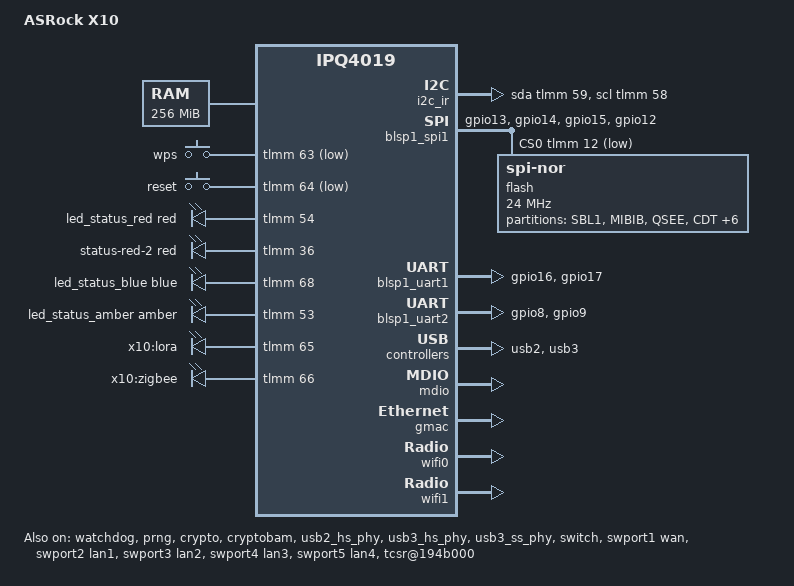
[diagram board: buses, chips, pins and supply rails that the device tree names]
// SPDX-License-Identifier: GPL-2.0-or-later OR MIT
/*
 * ASRock X10 IoT router (IPQ4019, 256 MiB RAM, 32 MiB SPI-NOR)
 *
 * Derived from the stock 1.70 firmware, which boots an unmodified QCA
 * AP-DK04.1 device tree and drives all board-specific peripherals from
 * userspace via sysfs GPIO. Pin assignments below come from those stock
 * scripts; Zigbee, IR, Ethernet, Wi-Fi calibration and MACs are verified
 * on hardware, LED colors are not.
 *
 * Peripherals:
 *  - TI CC2630 Zigbee NCP (Z-Stack ZNP) on blsp1_uart2 (ttyMSM1), 115200 8N1,
 *    no flow control. Reset is active-low on gpio18 (gpio32 on SR2 boards),
 *    ROM serial-bootloader backdoor (CC2630 DIO6, active-high) on gpio49.
 *  - Sonix SN8 IR blaster MCU and LoRa module on a bit-banged I2C bus;
 *    IR MCU reset on gpio46.
 */

#include "qcom-ipq4019.dtsi"
#include <dt-bindings/gpio/gpio.h>
#include <dt-bindings/input/input.h>
#include <dt-bindings/leds/common.h>
#include <dt-bindings/soc/qcom,tcsr.h>

/ {
	model = "ASRock X10";
	compatible = "asrock,x10";

	aliases {
		serial0 = &blsp1_uart1;
		serial1 = &blsp1_uart2;
		led-boot = &led_status_blue;
		led-failsafe = &led_status_red;
		led-running = &led_status_blue;
		led-upgrade = &led_status_amber;
		label-mac-device = &gmac;
	};

	chosen {
		stdout-path = "serial0:115200n8";
	};

	memory {
		device_type = "memory";
		reg = <0x80000000 0x10000000>;
	};

	soc {
		tcsr@1949000 {
			compatible = "qcom,tcsr";
			reg = <0x1949000 0x100>;
			qcom,wifi_glb_cfg = <TCSR_WIFI_GLB_CFG>;
		};

		tcsr@194b000 {
			/* select hostmode */
			compatible = "qcom,tcsr";
			reg = <0x194b000 0x100>;
			qcom,usb-hsphy-mode-select = <TCSR_USB_HSPHY_HOST_MODE>;
			status = "okay";
		};

		ess_tcsr@1953000 {
			compatible = "qcom,tcsr";
			reg = <0x1953000 0x1000>;
			qcom,ess-interface-select = <TCSR_ESS_PSGMII>;
		};

		tcsr@1957000 {
			compatible = "qcom,tcsr";
			reg = <0x1957000 0x100>;
			qcom,wifi_noc_memtype_m0_m2 = <TCSR_WIFI_NOC_MEMTYPE_M0_M2>;
		};
	};

	keys {
		compatible = "gpio-keys";

		wps {
			label = "wps";
			gpios = <&tlmm 63 GPIO_ACTIVE_LOW>;
			linux,code = <KEY_WPS_BUTTON>;
		};

		reset {
			label = "reset";
			gpios = <&tlmm 64 GPIO_ACTIVE_LOW>;
			linux,code = <KEY_RESTART>;
		};
	};

	leds {
		compatible = "gpio-leds";

		/* stock firmware always drives gpio54 and gpio36 together */
		led_status_red: status-red {
			function = LED_FUNCTION_STATUS;
			color = <LED_COLOR_ID_RED>;
			function-enumerator = <1>;
			gpios = <&tlmm 54 GPIO_ACTIVE_HIGH>;
		};

		status-red-2 {
			function = LED_FUNCTION_STATUS;
			color = <LED_COLOR_ID_RED>;
			function-enumerator = <2>;
			gpios = <&tlmm 36 GPIO_ACTIVE_HIGH>;
		};

		led_status_blue: status-blue {
			function = LED_FUNCTION_STATUS;
			color = <LED_COLOR_ID_BLUE>;
			gpios = <&tlmm 68 GPIO_ACTIVE_HIGH>;
		};

		led_status_amber: status-amber {
			function = LED_FUNCTION_STATUS;
			color = <LED_COLOR_ID_AMBER>;
			gpios = <&tlmm 53 GPIO_ACTIVE_HIGH>;
		};

		/* colors of the LoRa and Zigbee indicators are not known yet */
		lora {
			label = "x10:lora";
			gpios = <&tlmm 65 GPIO_ACTIVE_HIGH>;
		};

		zigbee {
			label = "x10:zigbee";
			gpios = <&tlmm 66 GPIO_ACTIVE_HIGH>;
		};
	};

	i2c_ir: i2c-gpio {
		compatible = "i2c-gpio";
		sda-gpios = <&tlmm 59 (GPIO_ACTIVE_HIGH | GPIO_OPEN_DRAIN)>;
		scl-gpios = <&tlmm 58 (GPIO_ACTIVE_HIGH | GPIO_OPEN_DRAIN)>;
		i2c-gpio,scl-output-only;
		i2c-gpio,delay-us = <1>;
		#address-cells = <1>;
		#size-cells = <0>;
	};
};

&watchdog {
	status = "okay";
};

&prng {
	status = "okay";
};

&crypto {
	status = "okay";
};

&cryptobam {
	status = "okay";
};

&blsp_dma {
	status = "okay";
};

&blsp1_spi1 {
	pinctrl-0 = <&spi_0_pins>;
	pinctrl-names = "default";
	status = "okay";
	cs-gpios = <&tlmm 12 GPIO_ACTIVE_LOW>;

	flash@0 {
		compatible = "jedec,spi-nor";
		reg = <0>;
		spi-max-frequency = <24000000>;

		partitions {
			compatible = "fixed-partitions";
			#address-cells = <1>;
			#size-cells = <1>;

			partition@0 {
				label = "SBL1";
				reg = <0x0 0x40000>;
				read-only;
			};

			partition@40000 {
				label = "MIBIB";
				reg = <0x40000 0x20000>;
				read-only;
			};

			partition@60000 {
				label = "QSEE";
				reg = <0x60000 0x60000>;
				read-only;
			};

			partition@c0000 {
				label = "CDT";
				reg = <0xc0000 0x10000>;
				read-only;
			};

			partition@d0000 {
				label = "DDRPARAMS";
				reg = <0xd0000 0x10000>;
				read-only;
			};

			partition@e0000 {
				label = "APPSBLENV";
				reg = <0xe0000 0x10000>;
			};

			partition@f0000 {
				label = "APPSBL";
				reg = <0xf0000 0x80000>;
				read-only;
			};

			partition@170000 {
				label = "ART";
				reg = <0x170000 0x10000>;
				read-only;

				nvmem-layout {
					compatible = "fixed-layout";
					#address-cells = <1>;
					#size-cells = <1>;

					macaddr_gmac0: macaddr@0 {
						compatible = "mac-base";
						reg = <0x0 0x6>;
						#nvmem-cell-cells = <1>;
					};

					macaddr_gmac1: macaddr@6 {
						reg = <0x6 0x6>;
					};

					precal_art_1000: precal@1000 {
						reg = <0x1000 0x2f20>;
					};

					precal_art_5000: precal@5000 {
						reg = <0x5000 0x2f20>;
					};
				};
			};

			/*
			 * Exactly the HLOS + rootfs range the stock flash script
			 * erases (0x180000 + 0x400000, 0x580000 + 0x1900000).
			 */
			partition@180000 {
				compatible = "denx,fit";
				label = "firmware";
				reg = <0x180000 0x1d00000>;
			};

			/*
			 * Stock jffs2 overlay and the "boardcfg" partition holding
			 * the factory MAC addresses and serial number. The exact
			 * split is unknown until /proc/mtd is read from a stock
			 * unit, so the whole tail is kept read-only.
			 */
			partition@1e80000 {
				label = "stock_data";
				reg = <0x1e80000 0x180000>;
				read-only;
			};
		};
	};
};

&blsp1_uart1 {
	pinctrl-0 = <&serial_0_pins>;
	pinctrl-names = "default";
	status = "okay";
};

/* TI CC2630 Zigbee NCP */
&blsp1_uart2 {
	pinctrl-0 = <&serial_1_pins>;
	pinctrl-names = "default";
	status = "okay";
};

&tlmm {
	serial_0_pins: serial0-pinmux {
		mux {
			pins = "gpio16", "gpio17";
			function = "blsp_uart0";
			bias-disable;
		};
	};

	serial_1_pins: serial1-pinmux {
		mux {
			pins = "gpio8", "gpio9";
			function = "blsp_uart1";
			bias-disable;
		};
	};

	spi_0_pins: spi-0-pinmux {
		pin {
			function = "blsp_spi0";
			pins = "gpio13", "gpio14", "gpio15";
			drive-strength = <12>;
			bias-disable;
		};

		pin-cs {
			function = "gpio";
			pins = "gpio12";
			drive-strength = <2>;
			bias-disable;
			output-high;
		};
	};
};

&usb2_hs_phy {
	status = "okay";
};

&usb2 {
	status = "okay";
};

&usb3_hs_phy {
	status = "okay";
};

&usb3_ss_phy {
	status = "okay";
};

&usb3 {
	status = "okay";
};

&mdio {
	status = "okay";
};

&gmac {
	status = "okay";

	nvmem-cell-names = "mac-address";
	nvmem-cells = <&macaddr_gmac0 0>;
};

&switch {
	status = "okay";
};

/* stock VLAN layout: WAN on switch port 1, LAN on ports 2-5 */
&swport1 {
	status = "okay";

	label = "wan";
	nvmem-cell-names = "mac-address";
	nvmem-cells = <&macaddr_gmac1>;
};

&swport2 {
	status = "okay";

	label = "lan1";
};

&swport3 {
	status = "okay";

	label = "lan2";
};

&swport4 {
	status = "okay";

	label = "lan3";
};

&swport5 {
	status = "okay";

	label = "lan4";
};

&wifi0 {
	status = "okay";
	nvmem-cell-names = "pre-calibration";
	nvmem-cells = <&precal_art_1000>;
	qcom,ath10k-calibration-variant = "ASRock-X10";
};

&wifi1 {
	status = "okay";
	nvmem-cell-names = "pre-calibration";
	nvmem-cells = <&precal_art_5000>;
	qcom,ath10k-calibration-variant = "ASRock-X10";
};
